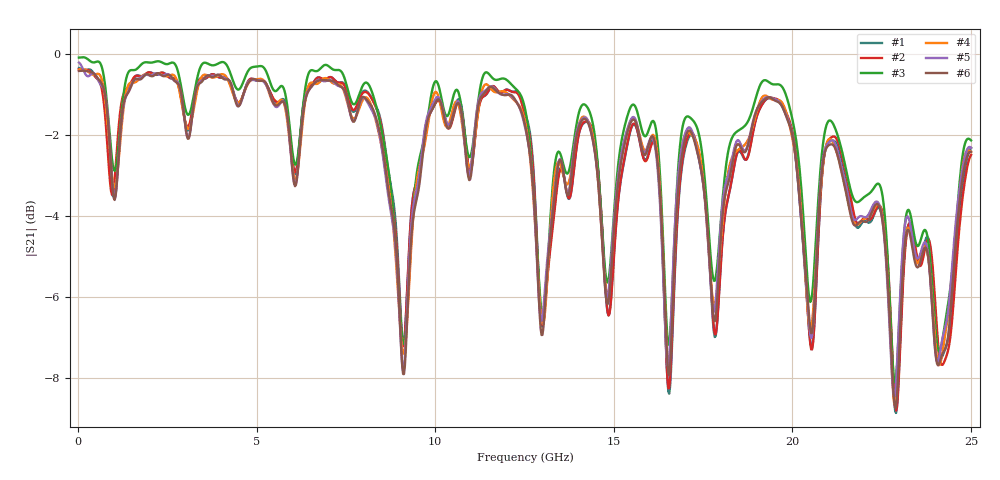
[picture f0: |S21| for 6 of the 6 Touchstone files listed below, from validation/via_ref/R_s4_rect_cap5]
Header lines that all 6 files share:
# Hz S RI R 50
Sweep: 25 MHz to 25 GHz
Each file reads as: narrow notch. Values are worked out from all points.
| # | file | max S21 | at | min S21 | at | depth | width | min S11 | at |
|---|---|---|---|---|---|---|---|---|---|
| 1 | cst.s2p | -0.34 dB | 25 MHz | -8.9 dB | 22.9 GHz | 6.9 dB | 426 MHz | -45.6 dB | 3.35 GHz |
| 2 | cst_fine.s2p | -0.36 dB | 25 MHz | -8.8 dB | 22.9 GHz | 6.8 dB | 425 MHz | -52.5 dB | 3.4 GHz |
| 3 | deembedded.s2p | -0.07 dB | 125 MHz | -8.1 dB | 22.88 GHz | 6.5 dB | 433 MHz | -61.7 dB | 2.225 GHz |
| 4 | kisi.s2p | -0.37 dB | 125 MHz | -8.7 dB | 22.88 GHz | 6.7 dB | 440 MHz | -40.1 dB | 3.7 GHz |
| 5 | openems.s2p | -0.20 dB | 25 MHz | -8.5 dB | 22.85 GHz | 6.5 dB | 430 MHz | -36.9 dB | 3.675 GHz |
| 6 | openems_base.s2p | -0.40 dB | 150 MHz | -8.8 dB | 22.88 GHz | 6.7 dB | 439 MHz | -37.8 dB | 3.775 GHz |
